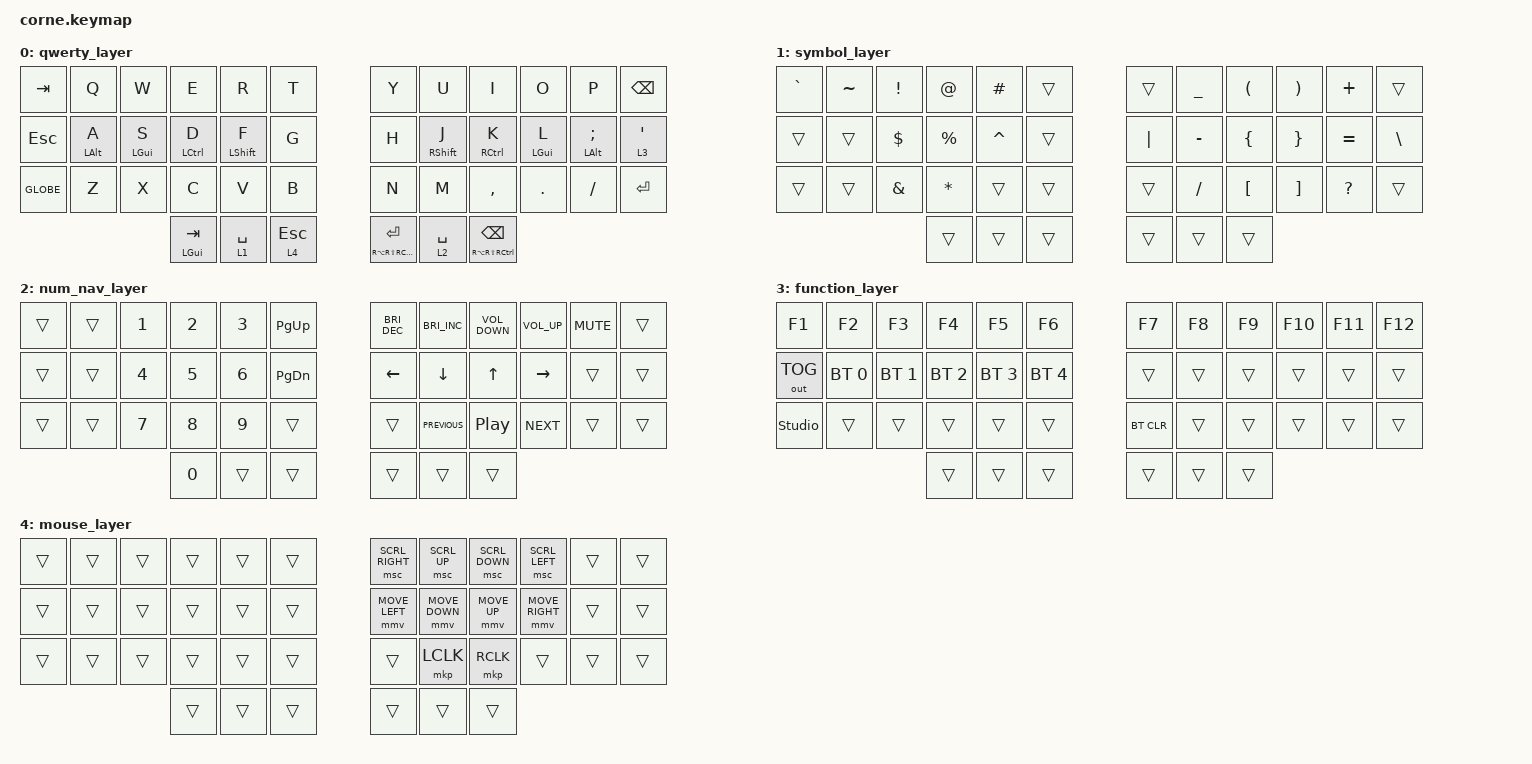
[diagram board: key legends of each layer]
/*
 * Copyright (c) 2020 The ZMK Contributors
 *
 * SPDX-License-Identifier: MIT
 */

#include <behaviors.dtsi>
#include <dt-bindings/zmk/bt.h>
#include <dt-bindings/zmk/keys.h>
#include <dt-bindings/zmk/outputs.h>
#include <dt-bindings/zmk/pointing.h>

/ {
    combos {
        compatible = "zmk,combos";

        left_bootloader {
            bindings = <&bootloader>;
            key-positions = <0 38 24 36>;
        };

        left_reset {
            bindings = <&sys_reset>;
            key-positions = <0 5 38 36 24 29>;
        };

        right_bootloader {
            bindings = <&bootloader>;
            key-positions = <39 41 11 35>;
        };

        right_reset {
            bindings = <&sys_reset>;
            key-positions = <6 30 39 41 11 35>;
        };
    };

    macros {
        copy: copy {
            compatible = "zmk,behavior-macro";
            #binding-cells = <0>;
            bindings = <&kp LGUI &kp C>;
            label = "COPY";
        };

        paste: paste {
            compatible = "zmk,behavior-macro";
            #binding-cells = <0>;
            bindings = <&kp RCMD &kp V>;
            label = "PASTE";
        };
    };

    behaviors {
        left_hrm: left_hrm {
            compatible = "zmk,behavior-hold-tap";
            label = "LEFT_HRM";
            bindings = <&kp>, <&kp>;

            #binding-cells = <2>;
            flavor = "balanced";
            hold-trigger-on-release;
            tapping-term-ms = <280>;
            quick-tap-ms = <175>;
            require-prior-idle-ms = <150>;
            hold-trigger-key-positions = <39 40 41 30 18 19 20 21 22 23 30 31 32 33 34 35 6 7 8 9 10 11 36 37 38>;
        };

        right_hrm: right_hrm {
            compatible = "zmk,behavior-hold-tap";
            label = "RIGHT_HRM";
            bindings = <&kp>, <&kp>;

            #binding-cells = <2>;
            tapping-term-ms = <280>;
            quick-tap-ms = <175>;
            require-prior-idle-ms = <150>;
            flavor = "balanced";
            hold-trigger-on-release;
            hold-trigger-key-positions = <37 38 39 40 0 1 2 3 4 5 12 13 14 15 16 17 24 25 26 27 28 29 36 41>;
        };

        left_shift_hrm: left_shift_hrm {
            compatible = "zmk,behavior-hold-tap";
            label = "LEFT_SHIFT_HRM";
            bindings = <&kp>, <&kp>;

            #binding-cells = <2>;
            flavor = "balanced";
            tapping-term-ms = <280>;
            quick-tap-ms = <175>;
            require-prior-idle-ms = <100>;
            hold-trigger-on-release;
            hold-trigger-key-positions = <39 40 41 6 7 8 9 10 11 18 19 20 21 22 23 30 31 32 33 34 35>;
        };

        right_shift_hrm: right_shift_hrm {
            compatible = "zmk,behavior-hold-tap";
            label = "RIGHT_SHIFT_HRM";
            bindings = <&kp>, <&kp>;

            #binding-cells = <2>;
            tapping-term-ms = <280>;
            quick-tap-ms = <175>;
            require-prior-idle-ms = <100>;
            flavor = "balanced";
            hold-trigger-on-release;
            hold-trigger-key-positions = <0 1 2 3 4 5 12 13 14 15 16 17 24 25 26 27 28 29 36 37 38>;
        };
    };

    keymap {
        compatible = "zmk,keymap";

        qwerty_layer {
            bindings = <
&kp TAB     &kp Q                 &kp W                 &kp E                     &kp R                         &kp T           &kp Y                              &kp U                           &kp I                               &kp O                  &kp P                     &kp BACKSPACE
&kp ESCAPE  &left_hrm LEFT_ALT A  &left_hrm LEFT_GUI S  &left_hrm LEFT_CONTROL D  &left_shift_hrm LEFT_SHIFT F  &kp G           &kp H                              &right_shift_hrm RIGHT_SHIFT J  &right_hrm RIGHT_CONTROL K          &right_hrm LEFT_GUI L  &right_hrm LEFT_ALT SEMI  &lt 3 SQT
&kp GLOBE   &kp Z                 &kp X                 &kp C                     &kp V                         &kp B           &kp N                              &kp M                           &kp COMMA                           &kp DOT                &kp FSLH                  &kp ENTER
                                                        &left_hrm LGUI TAB        &lt 1 SPACE                   &lt 4 ESCAPE    &right_hrm RA(RS(RC(RCMD))) ENTER  &lt 2 SPACE                     &right_hrm RA(RS(RCTRL)) BACKSPACE
            >;
        };

        symbol_layer {
            // -----------------------------------------------------------------------------------------
            // |  TAB |  !  |  @  |  #  |  $  |  %  |   |  ^  |  &  |  *  |  (  |  )  | BSPC |
            // | CTRL |     |     |     |     |     |   |  -  |  =  |  [  |  ]  |  \  |  `   |
            // | SHFT |     |     |     |     |     |   |  _  |  +  |  {  |  }  | "|" |  ~   |
            //                    | GUI |     | SPC |   | ENT |     | ALT |

            bindings = <
&kp GRAVE  &kp TILDE  &kp EXCLAMATION  &kp AT_SIGN   &kp HASH   &trans    &trans    &kp UNDER  &kp LEFT_PARENTHESIS  &kp RIGHT_PARENTHESIS  &kp PLUS      &trans
&trans     &trans     &kp DOLLAR       &kp PERCENT   &kp CARET  &trans    &kp PIPE  &kp MINUS  &kp LEFT_BRACE        &kp RIGHT_BRACE        &kp EQUAL     &kp BACKSLASH
&trans     &trans     &kp AMPERSAND    &kp ASTERISK  &trans     &trans    &trans    &kp SLASH  &kp LEFT_BRACKET      &kp RIGHT_BRACKET      &kp QUESTION  &trans
                                       &trans        &trans     &trans    &trans    &trans     &trans
            >;
        };

        num_nav_layer {
            // -----------------------------------------------------------------------------------------
            // |  TAB |  1  |  2  |  3  |  4  |  5  |   |  6  |  7  |  8  |  9  |  0  | BSPC |
            // | BTCLR| BT1 | BT2 | BT3 | BT4 | BT5 |   | LFT | DWN |  UP | RGT |     |      |
            // | SHFT |     |     |     |     |     |   |     |     |     |     |     |      |
            //                    | GUI |     | SPC |   | ENT |     | ALT |

            bindings = <
&trans  &trans  &kp NUMBER_1  &kp NUMBER_2  &kp NUMBER_3  &kp PAGE_UP      &kp C_BRIGHTNESS_DEC  &kp C_BRIGHTNESS_INC  &kp C_VOLUME_DOWN  &kp C_VOLUME_UP  &kp C_MUTE  &trans
&trans  &trans  &kp NUMBER_4  &kp NUMBER_5  &kp NUMBER_6  &kp PAGE_DOWN    &kp LEFT              &kp DOWN              &kp UP             &kp RIGHT        &trans      &trans
&trans  &trans  &kp NUMBER_7  &kp NUMBER_8  &kp NUMBER_9  &trans           &trans                &kp C_PREVIOUS        &kp C_PLAY_PAUSE   &kp C_NEXT       &trans      &trans
                              &kp NUMBER_0  &trans        &trans           &trans                &trans                &trans
            >;
        };

        function_layer {
            bindings = <
&kp F1          &kp F2        &kp F3        &kp F4        &kp F5        &kp F6          &kp F7      &kp F8  &kp F9  &kp F10  &kp F11  &kp F12
&out OUT_TOG    &bt BT_SEL 0  &bt BT_SEL 1  &bt BT_SEL 2  &bt BT_SEL 3  &bt BT_SEL 4    &trans      &trans  &trans  &trans   &trans   &trans
&studio_unlock  &trans        &trans        &trans        &trans        &trans          &bt BT_CLR  &trans  &trans  &trans   &trans   &trans
                                            &trans        &trans        &trans          &trans      &trans  &trans
            >;
        };

        mouse_layer {
            bindings = <
&trans  &trans  &trans  &trans  &trans  &trans    &msc SCRL_RIGHT  &msc SCRL_UP    &msc SCRL_DOWN  &msc SCRL_LEFT   &trans  &trans
&trans  &trans  &trans  &trans  &trans  &trans    &mmv MOVE_LEFT   &mmv MOVE_DOWN  &mmv MOVE_UP    &mmv MOVE_RIGHT  &trans  &trans
&trans  &trans  &trans  &trans  &trans  &trans    &trans           &mkp LCLK       &mkp RCLK       &trans           &trans  &trans
                        &trans  &trans  &trans    &trans           &trans          &trans
            >;
        };
    };
};
